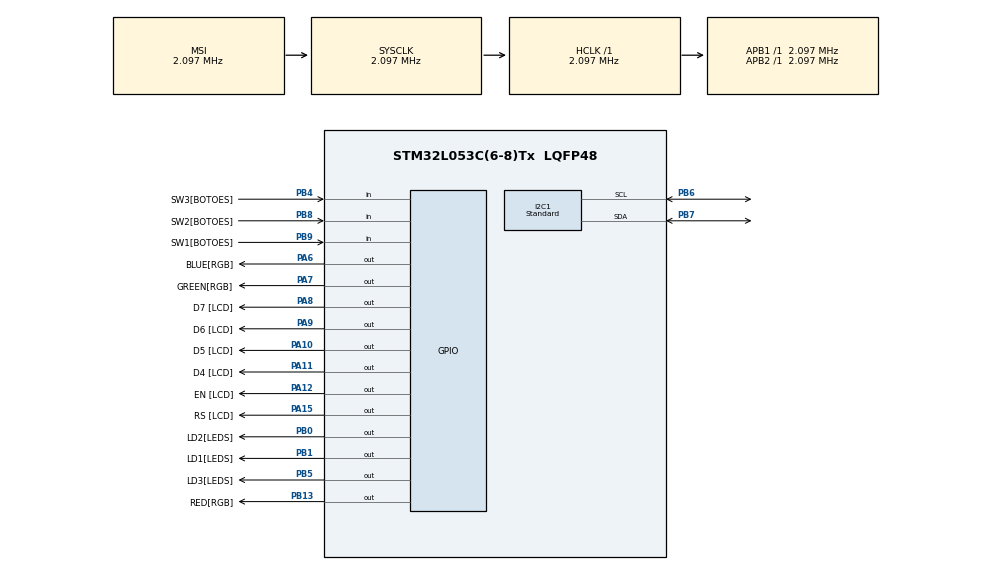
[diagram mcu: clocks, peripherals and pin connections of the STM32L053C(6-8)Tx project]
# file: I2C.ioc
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I2C1.I2C_Speed_Mode=I2C_Standard
I2C1.Timing=0x00000708
Mcu.Family=STM32L0
Mcu.Name=STM32L053C(6-8)Tx
Mcu.Package=LQFP48
NVIC.TIM21_IRQn=true\:0\:0\:false\:false\:true\:true
PA10.GPIO_Label=D5 [LCD]
PA10.Signal=GPIO_Output
PA11.GPIO_Label=D4 [LCD]
PA11.Signal=GPIO_Output
PA12.GPIO_Label=EN [LCD]
PA12.Signal=GPIO_Output
PA13.Mode=Serial_Wire
PA13.Signal=SYS_SWDIO
PA14.Mode=Serial_Wire
PA14.Signal=SYS_SWCLK
PA15.GPIO_Label=RS [LCD]
PA15.Signal=GPIO_Output
PA6.GPIO_Label=BLUE[RGB]
PA6.Signal=GPIO_Output
PA7.GPIO_Label=GREEN[RGB]
PA7.Signal=GPIO_Output
PA8.GPIO_Label=D7 [LCD]
PA8.Signal=GPIO_Output
PA9.GPIO_Label=D6 [LCD]
PA9.Signal=GPIO_Output
PB0.GPIO_Label=LD2[LEDS]
PB0.Signal=GPIO_Output
PB1.GPIO_Label=LD1[LEDS]
PB1.Signal=GPIO_Output
PB13.GPIO_Label=RED[RGB]
PB13.Signal=GPIO_Output
PB4.GPIO_Label=SW3[BOTOES]
PB4.GPIO_PuPd=GPIO_PULLUP
PB4.Signal=GPIO_Input
PB5.GPIO_Label=LD3[LEDS]
PB5.Signal=GPIO_Output
PB6.Mode=I2C
PB6.Signal=I2C1_SCL
PB7.Mode=I2C
PB7.Signal=I2C1_SDA
PB8.GPIO_Label=SW2[BOTOES]
PB8.GPIO_PuPd=GPIO_PULLUP
PB8.Signal=GPIO_Input
PB9.GPIO_Label=SW1[BOTOES]
PB9.GPIO_PuPd=GPIO_PULLUP
PB9.Signal=GPIO_Input
ProjectManager.HeapSize=0x200
ProjectManager.StackSize=0x400
ProjectManager.TargetToolchain=TrueSTUDIO
RCC.AHBFreq_Value=2097000
RCC.APB1Freq_Value=2097000
RCC.APB1TimFreq_Value=2097000
RCC.APB2Freq_Value=2097000
RCC.APB2TimFreq_Value=2097000
RCC.HSE_VALUE=8000000
RCC.HSI16_VALUE=16000000
RCC.HSI48_VALUE=48000000
RCC.HSI_VALUE=16000000
RCC.LSE_VALUE=32768
RCC.MSI_VALUE=2097000
RCC.SYSCLKFreq_VALUE=2097000
RCC.VCOOutputFreq_Value=48000000
TIM21.Period=999
TIM21.Prescaler=1999
VP_TIM21_VS_ClockSourceINT.Mode=Internal
board=I2C

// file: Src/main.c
/**
  ******************************************************************************
  * File Name          : main.c
  * Description        : Main program body
  ******************************************************************************
  ** This notice applies to any and all portions of this file
  * that are not between comment pairs USER CODE BEGIN and
  * USER CODE END. Other portions of this file, whether
  * inserted by the user or by software development tools
  * are owned by their respective copyright owners.
  *
  * COPYRIGHT(c) 2018 STMicroelectronics
  *
  * Redistribution and use in source and binary forms, with or without modification,
  * are permitted provided that the following conditions are met:
  *   1. Redistributions of source code must retain the above copyright notice,
  *      this list of conditions and the following disclaimer.
  *   2. Redistributions in binary form must reproduce the above copyright notice,
  *      this list of conditions and the following disclaimer in the documentation
  *      and/or other materials provided with the distribution.
  *   3. Neither the name of STMicroelectronics nor the names of its contributors
  *      may be used to endorse or promote products derived from this software
  *      without specific prior written permission.
  *
  * THIS SOFTWARE IS PROVIDED BY THE COPYRIGHT HOLDERS AND CONTRIBUTORS "AS IS"
  * AND ANY EXPRESS OR IMPLIED WARRANTIES, INCLUDING, BUT NOT LIMITED TO, THE
  * IMPLIED WARRANTIES OF MERCHANTABILITY AND FITNESS FOR A PARTICULAR PURPOSE ARE
  * DISCLAIMED. IN NO EVENT SHALL THE COPYRIGHT HOLDER OR CONTRIBUTORS BE LIABLE
  * FOR ANY DIRECT, INDIRECT, INCIDENTAL, SPECIAL, EXEMPLARY, OR CONSEQUENTIAL
  * DAMAGES (INCLUDING, BUT NOT LIMITED TO, PROCUREMENT OF SUBSTITUTE GOODS OR
  * SERVICES; LOSS OF USE, DATA, OR PROFITS; OR BUSINESS INTERRUPTION) HOWEVER
  * CAUSED AND ON ANY THEORY OF LIABILITY, WHETHER IN CONTRACT, STRICT LIABILITY,
  * OR TORT (INCLUDING NEGLIGENCE OR OTHERWISE) ARISING IN ANY WAY OUT OF THE USE
  * OF THIS SOFTWARE, EVEN IF ADVISED OF THE POSSIBILITY OF SUCH DAMAGE.
  *
  ******************************************************************************
  */
#include "main.h"
#include "stm32l0xx_hal.h"

I2C_HandleTypeDef hi2c1;

TIM_HandleTypeDef htim21;

/* USER CODE BEGIN PV */
/* Private variables ---------------------------------------------------------*/

uint8_t rtc_adj[9];
uint8_t rtc_read[8];
uint8_t rtc_init[2] = {0x00, 0x00};
uint8_t rtc_radr = 0x00;

/* USER CODE END PV */

void SystemClock_Config(void);
static void MX_GPIO_Init(void);
static void MX_I2C1_Init(void);
static void MX_TIM21_Init(void);

/* USER CODE BEGIN PFP */
/* Private function prototypes -----------------------------------------------*/

/* USER CODE END PFP */

/* USER CODE BEGIN 0 */

/*** DEFINES ***/

#define RS RS_GPIO_Port, RS_Pin
#define EN EN_GPIO_Port, EN_Pin
#define D4 D4_GPIO_Port, D4_Pin
#define D5 D5_GPIO_Port, D5_Pin
#define D6 D6_GPIO_Port, D6_Pin
#define D7 D7_GPIO_Port, D7_Pin

/* write_lcd -> write data or comand to lcd */

  void write_lcd(uint8_t data, uint8_t cmd_data)
 {

		if (cmd_data) HAL_GPIO_WritePin(RS, GPIO_PIN_SET);
		else						HAL_GPIO_WritePin(RS, GPIO_PIN_RESET);

		if(data & 0x80)	HAL_GPIO_WritePin(D7, GPIO_PIN_SET);
		else						HAL_GPIO_WritePin(D7, GPIO_PIN_RESET);
		if(data & 0x40)	HAL_GPIO_WritePin(D6, GPIO_PIN_SET);
		else						HAL_GPIO_WritePin(D6, GPIO_PIN_RESET);
		if(data & 0x20)	HAL_GPIO_WritePin(D5, GPIO_PIN_SET);
		else						HAL_GPIO_WritePin(D5, GPIO_PIN_RESET);
		if(data & 0x10)	HAL_GPIO_WritePin(D4, GPIO_PIN_SET);
		else						HAL_GPIO_WritePin(D4, GPIO_PIN_RESET);

		HAL_GPIO_WritePin(EN, GPIO_PIN_SET);
		HAL_Delay(2);
		HAL_GPIO_WritePin(EN, GPIO_PIN_RESET);

		if(data & 0x08)	HAL_GPIO_WritePin(D7, GPIO_PIN_SET);
		else						HAL_GPIO_WritePin(D7, GPIO_PIN_RESET);
		if(data & 0x04)	HAL_GPIO_WritePin(D6, GPIO_PIN_SET);
		else						HAL_GPIO_WritePin(D6, GPIO_PIN_RESET);
		if(data & 0x02)	HAL_GPIO_WritePin(D5, GPIO_PIN_SET);
		else						HAL_GPIO_WritePin(D5, GPIO_PIN_RESET);
		if(data & 0x01)	HAL_GPIO_WritePin(D4, GPIO_PIN_SET);
		else						HAL_GPIO_WritePin(D4, GPIO_PIN_RESET);

		HAL_GPIO_WritePin(EN, GPIO_PIN_SET);
		HAL_Delay(2);
		HAL_GPIO_WritePin(EN, GPIO_PIN_RESET);

 }

 /* string_lcd -> write a string data to LCD */
  void string_lcd (char *string)
 {
	 while(*string) write_lcd(*string++, 1);
 }

 /* LCD_init -> initialize LCD 4bits */
  void init_LCD(void)
 {
	uint8_t i, buf[6] = {0x33, 0x32, 0x28, 0x06, 0x0c, 0x01};
	for(i=0; i<6; i++) write_lcd(buf[i],0);
 }

/* clear_LCD */
void clear_LCD(void)
{
	 write_lcd(0x01,0);
}

void escrita_relogio()
{
		write_lcd(0x83,0);
	  	string_lcd("  :  :  ");
	  	write_lcd(0xC3,0);
	  	string_lcd("  /  /  ");

	  	/* inicialização RTC */
	  	rtc_adj[0] = 0x00;  //endereço do registrador
	  	rtc_adj[1] = 0x00;	//segundos
	  	rtc_adj[2] = 0x46;	//minutos
	  	rtc_adj[3] = 0x09;	//hora
	  	rtc_adj[4] = 0x02;	//dia da semana
	  	rtc_adj[5] = 0x02;	//dia
	  	rtc_adj[6] = 0x04;	//mês
	  	rtc_adj[7] = 0x18;	//ano
	  	rtc_adj[8] = 0x10;	//controle

	  	//HAL_I2C_Master_Transmit(&hi2c1, 0xD0, rtc_adj, 9, 20);
	  	//HAL_I2C_Master_Transmit(&hi2c1, 0xD0, rtc_init, 2, 20);

}

 void leitura_relogio()
 {

	 /* leitura do RTC */
		  		HAL_I2C_Master_Transmit(&hi2c1, 0xD0, &rtc_radr, 1, 20); // envio do endereço do registrador

		  		HAL_I2C_Master_Receive(&hi2c1, 0xD1, rtc_read, 8, 20); //

		  		write_lcd(0x83,0); //hora
		  		write_lcd(((rtc_read[2] & 0x30)>>4) + 0x30, 1);
		  		write_lcd((rtc_read[2] & 0x0F) + 0x30, 1);

		  		write_lcd(0x86, 0);	//minuto
		  		write_lcd(((rtc_read[1] & 0x70 )>>4) + 0x30, 1);
		  		write_lcd((rtc_read[1] & 0x0F) + 0x30, 1);

		  		write_lcd(0x89, 0);	//segundos
		  		write_lcd(((rtc_read[0] & 0x70)>>4) + 0x30, 1);
		  		write_lcd((rtc_read[0] & 0x0F) + 0x30, 1);

		  		write_lcd(0xC3, 0);	//dia do mês
		  		write_lcd(((rtc_read[4] & 0x30)>>4) + 0x30, 1);
		  		write_lcd((rtc_read[4] & 0x0F) + 0x30, 1);

		  		write_lcd(0xC6, 0);	// mês
		  		write_lcd(((rtc_read[5] & 0x70)>>4) + 0x30, 1);
		  		write_lcd((rtc_read[5] & 0x0F) + 0x30, 1);

		  		write_lcd(0xC9, 0);	//ano
		  		write_lcd(((rtc_read[6] & 0x70)>>4) + 0x30, 1);
		  		write_lcd((rtc_read[6] & 0x0F) + 0x30, 1);

 }

/* USER CODE END 0 */

int main(void)
{

  /* MCU Configuration----------------------------------------------------------*/

  /* Reset of all peripherals, Initializes the Flash interface and the Systick. */
  HAL_Init();

  /* Configure the system clock */
  SystemClock_Config();

  /* Initialize all configured peripherals */
  MX_GPIO_Init();
  MX_I2C1_Init();
  MX_TIM21_Init();

  /* USER CODE BEGIN 2 */

  HAL_TIM_Base_Init(&htim21); //Configure the timer
  HAL_TIM_Base_Start_IT(&htim21); //Start the timer
  init_LCD();
  escrita_relogio();

  /* USER CODE END 2 */

  /* Infinite loop */
  while (1)
  {

  /* USER CODE BEGIN 3 */

	  leitura_relogio();

  }
  /* USER CODE END 3 */

}

/** System Clock Configuration
*/
void SystemClock_Config(void)
{

  RCC_OscInitTypeDef RCC_OscInitStruct;
  RCC_ClkInitTypeDef RCC_ClkInitStruct;
  RCC_PeriphCLKInitTypeDef PeriphClkInit;

    /**Configure the main internal regulator output voltage
    */
  __HAL_PWR_VOLTAGESCALING_CONFIG(PWR_REGULATOR_VOLTAGE_SCALE1);

    /**Initializes the CPU, AHB and APB busses clocks
    */
  RCC_OscInitStruct.OscillatorType = RCC_OSCILLATORTYPE_MSI;
  RCC_OscInitStruct.MSIState = RCC_MSI_ON;
  RCC_OscInitStruct.MSICalibrationValue = 0;
  RCC_OscInitStruct.MSIClockRange = RCC_MSIRANGE_5;
  RCC_OscInitStruct.PLL.PLLState = RCC_PLL_NONE;
  if (HAL_RCC_OscConfig(&RCC_OscInitStruct) != HAL_OK)
  {
    _Error_Handler(__FILE__, __LINE__);
  }

    /**Initializes the CPU, AHB and APB busses clocks
    */
  RCC_ClkInitStruct.ClockType = RCC_CLOCKTYPE_HCLK|RCC_CLOCKTYPE_SYSCLK
                              |RCC_CLOCKTYPE_PCLK1|RCC_CLOCKTYPE_PCLK2;
  RCC_ClkInitStruct.SYSCLKSource = RCC_SYSCLKSOURCE_MSI;
  RCC_ClkInitStruct.AHBCLKDivider = RCC_SYSCLK_DIV1;
  RCC_ClkInitStruct.APB1CLKDivider = RCC_HCLK_DIV1;
  RCC_ClkInitStruct.APB2CLKDivider = RCC_HCLK_DIV1;

  if (HAL_RCC_ClockConfig(&RCC_ClkInitStruct, FLASH_LATENCY_0) != HAL_OK)
  {
    _Error_Handler(__FILE__, __LINE__);
  }

  PeriphClkInit.PeriphClockSelection = RCC_PERIPHCLK_I2C1;
  PeriphClkInit.I2c1ClockSelection = RCC_I2C1CLKSOURCE_PCLK1;
  if (HAL_RCCEx_PeriphCLKConfig(&PeriphClkInit) != HAL_OK)
  {
    _Error_Handler(__FILE__, __LINE__);
  }

    /**Configure the Systick interrupt time
    */
  HAL_SYSTICK_Config(HAL_RCC_GetHCLKFreq()/1000);

    /**Configure the Systick
    */
  HAL_SYSTICK_CLKSourceConfig(SYSTICK_CLKSOURCE_HCLK);

  /* SysTick_IRQn interrupt configuration */
  HAL_NVIC_SetPriority(SysTick_IRQn, 0, 0);
}

/* I2C1 init function */
static void MX_I2C1_Init(void)
{

  hi2c1.Instance = I2C1;
  hi2c1.Init.Timing = 0x00000708;
  hi2c1.Init.OwnAddress1 = 0;
  hi2c1.Init.AddressingMode = I2C_ADDRESSINGMODE_7BIT;
  hi2c1.Init.DualAddressMode = I2C_DUALADDRESS_DISABLE;
  hi2c1.Init.OwnAddress2 = 0;
  hi2c1.Init.OwnAddress2Masks = I2C_OA2_NOMASK;
  hi2c1.Init.GeneralCallMode = I2C_GENERALCALL_DISABLE;
  hi2c1.Init.NoStretchMode = I2C_NOSTRETCH_DISABLE;
  if (HAL_I2C_Init(&hi2c1) != HAL_OK)
  {
    _Error_Handler(__FILE__, __LINE__);
  }

    /**Configure Analogue filter
    */
  if (HAL_I2CEx_ConfigAnalogFilter(&hi2c1, I2C_ANALOGFILTER_ENABLE) != HAL_OK)
  {
    _Error_Handler(__FILE__, __LINE__);
  }

    /**Configure Digital filter
    */
  if (HAL_I2CEx_ConfigDigitalFilter(&hi2c1, 0) != HAL_OK)
  {
    _Error_Handler(__FILE__, __LINE__);
  }

}

/* TIM21 init function */
static void MX_TIM21_Init(void)
{

  TIM_ClockConfigTypeDef sClockSourceConfig;
  TIM_MasterConfigTypeDef sMasterConfig;

  htim21.Instance = TIM21;
  htim21.Init.Prescaler = 1999;
  htim21.Init.CounterMode = TIM_COUNTERMODE_UP;
  htim21.Init.Period = 999;
  htim21.Init.ClockDivision = TIM_CLOCKDIVISION_DIV1;
  if (HAL_TIM_Base_Init(&htim21) != HAL_OK)
  {
    _Error_Handler(__FILE__, __LINE__);
  }

  sClockSourceConfig.ClockSource = TIM_CLOCKSOURCE_INTERNAL;
  if (HAL_TIM_ConfigClockSource(&htim21, &sClockSourceConfig) != HAL_OK)
  {
    _Error_Handler(__FILE__, __LINE__);
  }

  sMasterConfig.MasterOutputTrigger = TIM_TRGO_RESET;
  sMasterConfig.MasterSlaveMode = TIM_MASTERSLAVEMODE_DISABLE;
  if (HAL_TIMEx_MasterConfigSynchronization(&htim21, &sMasterConfig) != HAL_OK)
  {
    _Error_Handler(__FILE__, __LINE__);
  }

}

/** Configure pins as
        * Analog
        * Input
        * Output
        * EVENT_OUT
        * EXTI
*/
static void MX_GPIO_Init(void)
{

  GPIO_InitTypeDef GPIO_InitStruct;

  /* GPIO Ports Clock Enable */
  __HAL_RCC_GPIOA_CLK_ENABLE();
  __HAL_RCC_GPIOB_CLK_ENABLE();

  /*Configure GPIO pin Output Level */
  HAL_GPIO_WritePin(GPIOA, BLUE_Pin|GREEN_Pin|D7_Pin|D6_Pin
                          |D5_Pin|D4_Pin|EN_Pin|RS_Pin, GPIO_PIN_RESET);

  /*Configure GPIO pin Output Level */
  HAL_GPIO_WritePin(GPIOB, LD2_Pin|LD1_Pin|RED_Pin|LD3_Pin, GPIO_PIN_RESET);

  /*Configure GPIO pins : BLUE_Pin GREEN_Pin D7_Pin D6_Pin
                           D5_Pin D4_Pin EN_Pin RS_Pin */
  GPIO_InitStruct.Pin = BLUE_Pin|GREEN_Pin|D7_Pin|D6_Pin
                          |D5_Pin|D4_Pin|EN_Pin|RS_Pin;
  GPIO_InitStruct.Mode = GPIO_MODE_OUTPUT_PP;
  GPIO_InitStruct.Pull = GPIO_NOPULL;
  GPIO_InitStruct.Speed = GPIO_SPEED_FREQ_LOW;
  HAL_GPIO_Init(GPIOA, &GPIO_InitStruct);

  /*Configure GPIO pins : LD2_Pin LD1_Pin RED_Pin LD3_Pin */
  GPIO_InitStruct.Pin = LD2_Pin|LD1_Pin|RED_Pin|LD3_Pin;
  GPIO_InitStruct.Mode = GPIO_MODE_OUTPUT_PP;
  GPIO_InitStruct.Pull = GPIO_NOPULL;
  GPIO_InitStruct.Speed = GPIO_SPEED_FREQ_LOW;
  HAL_GPIO_Init(GPIOB, &GPIO_InitStruct);

  /*Configure GPIO pins : SW3_Pin SW2_Pin SW1_Pin */
  GPIO_InitStruct.Pin = SW3_Pin|SW2_Pin|SW1_Pin;
  GPIO_InitStruct.Mode = GPIO_MODE_INPUT;
  GPIO_InitStruct.Pull = GPIO_PULLUP;
  HAL_GPIO_Init(GPIOB, &GPIO_InitStruct);

}

void _Error_Handler(char * file, int line)
{
  while(1)
  {
  }
}

/************************ (C) COPYRIGHT STMicroelectronics *****END OF FILE****/
